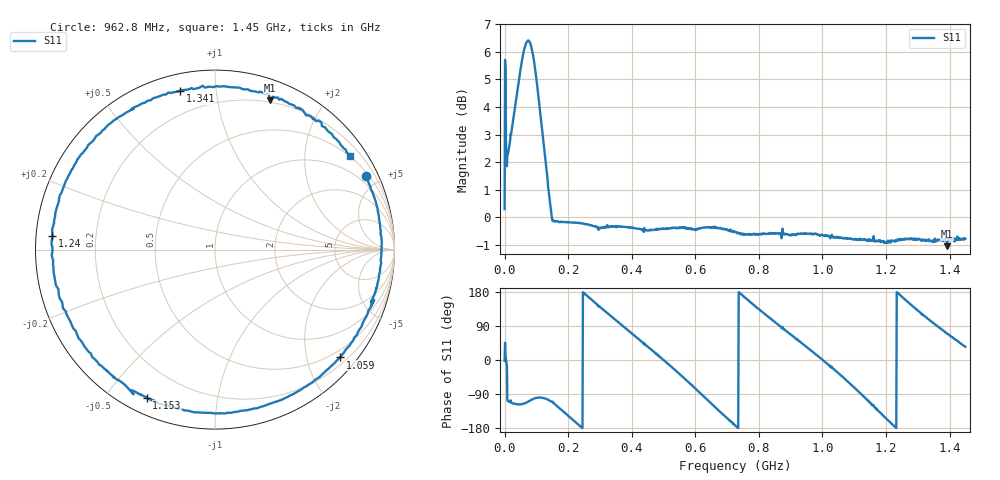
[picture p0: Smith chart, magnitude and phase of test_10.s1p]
! Created with skrf 1.11.0 (http://scikit-rf.org).
# Hz S RI R 50.0
!freq ReS11 ImS11
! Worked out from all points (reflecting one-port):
!   1001 points, 50 kHz to 1.45 GHz, reference 50 ohm
!   lowest |S11| = -1.0 dB at 1.392 GHz (marker M1), VSWR 16.67, Z = 9.13 + j71.1 ohm
!   phase of S11 starts at -2 deg and turns -1043 deg over the sweep
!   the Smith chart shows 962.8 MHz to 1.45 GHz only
!   S11 on the Smith chart (normalised r, x): 962.8 MHz: 0.65, +4.27; 1.059 GHz: 0.34, -2.65; 1.153 GHz: 0.07, -0.64; 1.24 GHz: 0.05, +0.04; 1.341 GHz: 0.08, +0.80; 1.45 GHz: 0.48, +3.12
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50000  1.034 -0.0415
1.599945e7  -0.4765 -1.274
5.079825e7  -0.8484 -1.66
7.54474e7  -0.6906 -1.973
1.17496e8  -0.2416 -1.429
1.812938e8  -0.6734 -0.713
2.62491e8  -0.9464 0.2129
3.625375e8  -0.1032 0.9564
4.103858e8  0.4322 0.8521
4.65484e8  0.8638 0.394
5.437812e8  0.8117 -0.505
5.887297e8  0.384 -0.8696
6.307782e8  -0.1567 -0.9468
6.800766e8  -0.7128 -0.6378
7.25025e8  -0.9331 -0.1281
8.221716e8  -0.4513 0.8167
9.062688e8  0.4139 0.8336
9.628168e8  0.8421 0.4074
1.010665e9  0.9193 -0.104
1.058514e9  0.6964 -0.6011
1.087512e9  0.4152 -0.8141
1.15276e9  -0.3802 -0.8247
1.199159e9  -0.803 -0.4076
1.239757e9  -0.9057 0.0747
1.268756e9  -0.8162 0.411
1.341254e9  -0.1956 0.8848
1.392002e9  0.3083 0.8315
1.45e9  0.7511 0.5229
